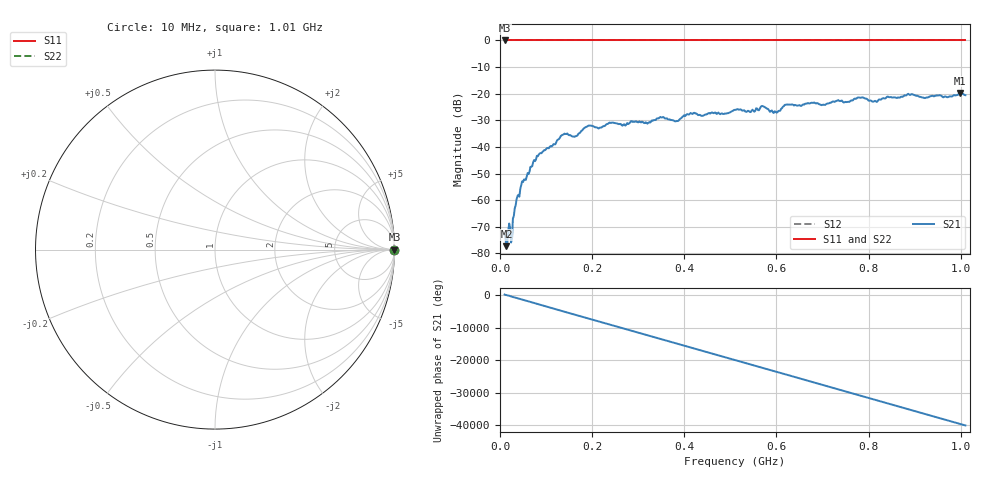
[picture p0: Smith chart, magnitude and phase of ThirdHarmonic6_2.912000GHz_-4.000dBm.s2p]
! 8/17/2025 8:04:38 AM
! C:\ANRITSUVNA\TEMP\TEMP.S2P
! CHANNEL.1
! TR.MEASUREMENT
! RAW.DATA
! RF.CORRECTION.OFF
! AVERAGING.OFF
! IF.BANDWIDTH: 5KHZ
! SWEEPTYPE:  FREQ.SWEEP(Linear)
! Reference Plane Port Info
! PORT:  PORT1  PORT2
! DISTANCE:  0  m  0  m
! TIME:  0  s  0  s
! PHASE.OFFSET:  0  deg.  0  deg.
! LOSS:  0  dB  0  dB
! REF.LOSS:  0  dB  0  dB
! REF.FREQ:  0  Hz  0  Hz
! Power Info
! POWER:  -20  dBm  -20  dBm
! EFF.POWER:  -20  dBm  -20  dBm
! SOURCE.ATTEN:  0  dB  0  dB
! TEST.ATTEN:  0  dB  0  dB
# GHZ S RI R 50.0
! FREQ.GHZ  S11RE  S11IM  S21RE  S21IM  S12RE  S12IM  S22RE  S22IM
!; PortSelection: Port_12
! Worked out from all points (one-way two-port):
!   501 points, 10 MHz to 1.01 GHz, reference 50 ohm
!   highest |S21| = -19.77 dB at 998 MHz (marker M1); lowest = -77.3 dB at 14 MHz (marker M2)
!   lowest |S11| = 0.0 dB at 10 MHz (marker M3)
!   |S11| at or under -10 dB: nowhere
!   |S22| runs from 0.0 to 0.0 dB; largest |S21 - S12| = 1.1
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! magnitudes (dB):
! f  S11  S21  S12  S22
! 10 MHz  0.0  -72.6  0.0  0.0
! 14 MHz  0.0  -77.3  0.0  0.0
! 26 MHz  0.0  -74.6  0.0  0.0
! 36 MHz  0.0  -59.6  0.0  0.0
! 48 MHz  0.0  -52.9  0.0  0.0
! 76 MHz  0.0  -45.3  0.0  0.0
! 136 MHz  0.0  -35.4  0.0  0.0
! 162 MHz  0.0  -36.2  0.0  0.0
! 178 MHz  0.0  -33.8  0.0  0.0
! 194 MHz  0.0  -32.0  0.0  0.0
! 322 MHz  0.0  -30.9  0.0  0.0
! 344 MHz  0.0  -29.3  0.0  0.0
! 382 MHz  0.0  -30.3  0.0  0.0
! 410 MHz  0.0  -27.8  0.0  0.0
! 510 MHz  0.0  -26.1  0.0  0.0
! 570 MHz  0.0  -24.6  0.0  0.0
! 598 MHz  0.0  -26.8  0.0  0.0
! 622 MHz  0.0  -24.1  0.0  0.0
! 678 MHz  0.0  -23.4  0.0  0.0
! 844 MHz  0.0  -21.3  0.0  0.0
! 998 MHz  0.0  -19.8  0.0  0.0
! 1.01 GHz  0.0  -20.6  0.0  0.0
